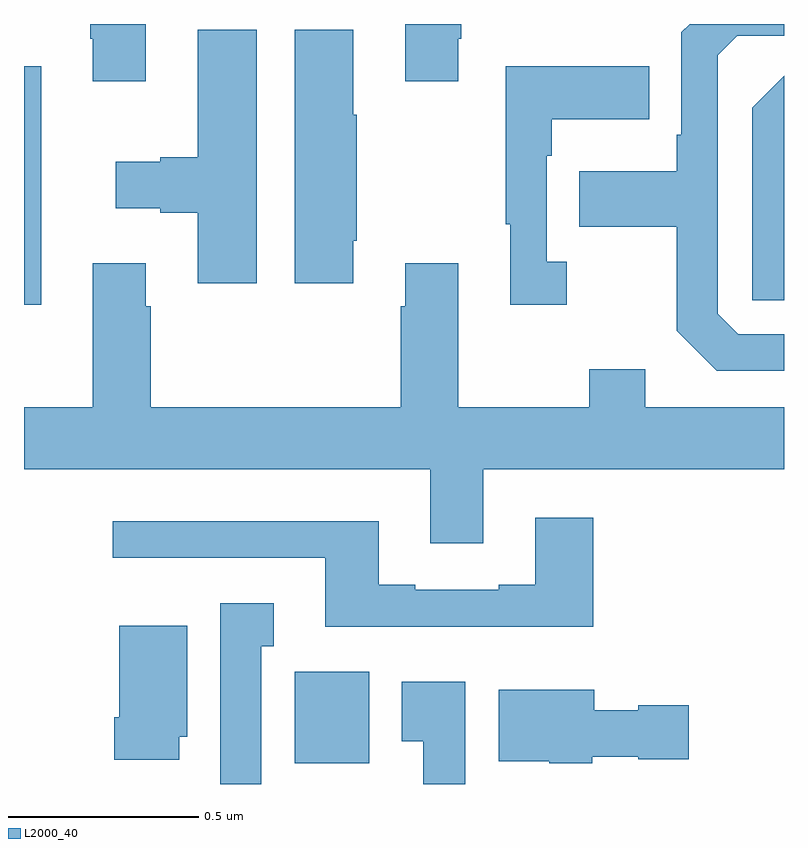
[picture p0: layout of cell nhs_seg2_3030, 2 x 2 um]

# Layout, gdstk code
import gdstk
lib = gdstk.Library(unit=1e-6, precision=1e-09)
def R(c, l, rs):  # rectangles x0, y0, x1, y1
    for r in rs: c.add(gdstk.rectangle(r[:2], r[2:], *l))
def P(c, l, *ps):  # polygons
    for p in ps: c.add(gdstk.Polygon(p, *l))
L2000_40 = (2000, 40)

nhs_seg2_3030 = lib.new_cell('nhs_seg2_3030')
R(nhs_seg2_3030, L2000_40, [(148.712,654.854,148.909,655.096), (148,656.061,148.046,656.689)])
P(nhs_seg2_3030, L2000_40, [(150,655.983),(149.88,655.983),(149.826,656.037),(149.826,656.718),(149.877,656.769),(150,656.769),(150,656.8),(149.752,656.8),(149.73,656.778),(149.73,656.509),(149.718,656.509),(149.718,656.413),(149.461,656.413),(149.461,656.266),(149.718,656.266),(149.718,655.993),(149.823,655.887),(150,655.887)],
  [(149.143,656.761),(149.151,656.761),(149.151,656.8),(149.003,656.8),(149.003,656.649),(149.143,656.649)],
  [(148.321,656.8),(148.174,656.8),(148.174,656.761),(148.181,656.761),(148.181,656.649),(148.321,656.649)],
  [(148.867,656.23),(148.875,656.23),(148.875,656.561),(148.867,656.561),(148.867,656.785),(148.712,656.785),(148.712,656.118),(148.867,656.118)],
  [(148.612,656.785),(148.457,656.785),(148.457,656.45),(148.358,656.45),(148.358,656.437),(148.242,656.437),(148.242,656.315),(148.358,656.315),(148.358,656.303),(148.457,656.303),(148.457,656.118),(148.612,656.118)],
  [(149.428,656.174),(149.376,656.174),(149.376,656.453),(149.389,656.453),(149.389,656.549),(149.645,656.549),(149.645,656.689),(149.268,656.689),(149.268,656.273),(149.279,656.273),(149.279,656.061),(149.428,656.061)],
  [(150,656.664),(149.916,656.58),(149.916,656.073),(150,656.073)],
  [(149.209,655.628),(150,655.628),(150,655.792),(149.635,655.792),(149.635,655.891),(149.488,655.891),(149.488,655.792),(149.143,655.792),(149.143,656.17),(149.003,656.17),(149.003,656.057),(148.991,656.057),(148.991,655.792),(148.334,655.792),(148.334,656.057),(148.321,656.057),(148.321,656.17),(148.181,656.17),(148.181,655.792),(148,655.792),(148,655.628),(149.069,655.628),(149.069,655.434),(149.209,655.434)],
  [(149.498,655.501),(149.345,655.501),(149.345,655.324),(149.249,655.324),(149.249,655.311),(149.029,655.311),(149.029,655.324),(148.933,655.324),(148.933,655.492),(148.233,655.492),(148.233,655.395),(148.793,655.395),(148.793,655.214),(149.498,655.214)],
  [(148.624,655.163),(148.657,655.163),(148.657,655.276),(148.517,655.276),(148.517,654.8),(148.624,654.8)],
  [(148.408,654.924),(148.429,654.924),(148.429,655.216),(148.25,655.216),(148.25,654.976),(148.238,654.976),(148.238,654.864),(148.408,654.864)],
  [(149.161,655.069),(148.994,655.069),(148.994,654.913),(149.051,654.913),(149.051,654.8),(149.161,654.8)],
  [(149.496,654.872),(149.616,654.872),(149.616,654.865),(149.749,654.865),(149.749,655.007),(149.616,655.007),(149.616,654.994),(149.5,654.994),(149.5,655.048),(149.249,655.048),(149.249,654.86),(149.382,654.86),(149.382,654.854),(149.496,654.854)])

lib.write_gds('nhs_seg2_3030.gds')
